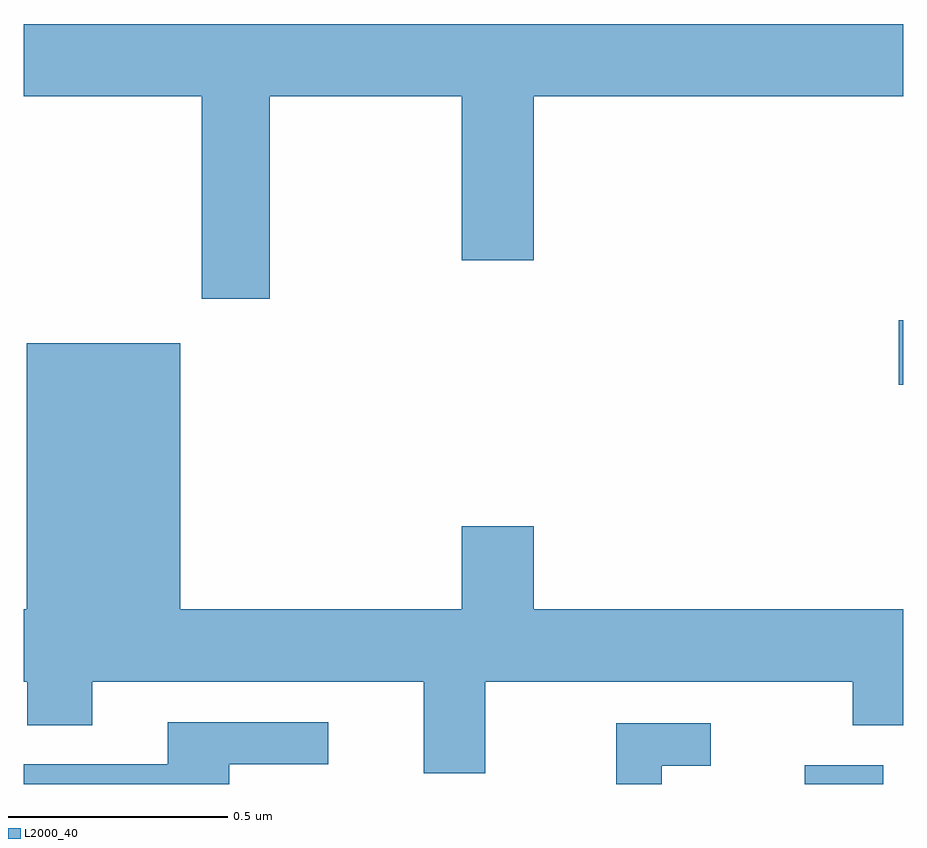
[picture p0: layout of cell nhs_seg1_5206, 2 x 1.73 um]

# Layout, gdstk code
import gdstk
lib = gdstk.Library(unit=1e-6, precision=1e-09)
def R(c, l, rs):  # rectangles x0, y0, x1, y1
    for r in rs: c.add(gdstk.rectangle(r[:2], r[2:], *l))
def P(c, l, *ps):  # polygons
    for p in ps: c.add(gdstk.Polygon(p, *l))
L2000_40 = (2000, 40)

nhs_seg1_5206 = lib.new_cell('nhs_seg1_5206')
R(nhs_seg1_5206, L2000_40, [(177.776,518.199,177.955,518.242), (177.99,519.107,178,519.254)])
P(nhs_seg1_5206, L2000_40, [(176.559,519.764),(176.996,519.764),(176.996,519.39),(177.16,519.39),(177.16,519.764),(178,519.764),(178,519.928),(176,519.928),(176,519.764),(176.404,519.764),(176.404,519.303),(176.559,519.303)],
  [(177.049,518.432),(177.886,518.432),(177.886,518.333),(178,518.333),(178,518.596),(177.16,518.596),(177.16,518.785),(176.996,518.785),(176.996,518.596),(176.356,518.596),(176.356,519.202),(176.006,519.202),(176.006,518.596),(176,518.596),(176,518.432),(176.008,518.432),(176.008,518.333),(176.155,518.333),(176.155,518.432),(176.909,518.432),(176.909,518.224),(177.049,518.224)],
  [(176.467,518.244),(176.692,518.244),(176.692,518.34),(176.327,518.34),(176.327,518.244),(176,518.244),(176,518.199),(176.467,518.199)],
  [(177.451,518.241),(177.562,518.241),(177.562,518.337),(177.347,518.337),(177.347,518.199),(177.451,518.199)])

lib.write_gds('nhs_seg1_5206.gds')
